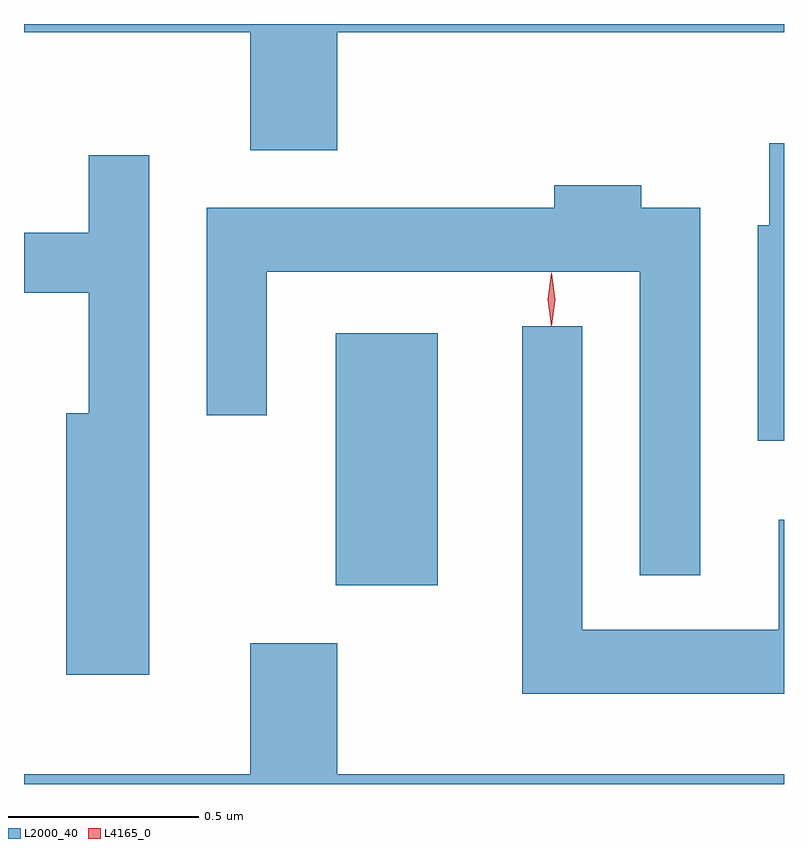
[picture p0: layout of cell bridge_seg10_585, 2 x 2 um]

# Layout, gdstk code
import gdstk
lib = gdstk.Library(unit=1e-6, precision=1e-09)
def R(c, l, rs):  # rectangles x0, y0, x1, y1
    for r in rs: c.add(gdstk.rectangle(r[:2], r[2:], *l))
def P(c, l, *ps):  # polygons
    for p in ps: c.add(gdstk.Polygon(p, *l))
L2000_40 = (2000, 40)
L4165_0 = (4165, 0)

bridge_seg10_585 = lib.new_cell('bridge_seg10_585')
R(bridge_seg10_585, L2000_40, [(802.456,2167.961,802.724,2168.624)])
P(bridge_seg10_585, L2000_40, [(802.459,2169.416),(803.635,2169.416),(803.635,2169.438),(801.635,2169.438),(801.635,2169.416),(802.231,2169.416),(802.231,2169.106),(802.459,2169.106)],
  [(803.635,2169.124),(803.596,2169.124),(803.596,2168.909),(803.566,2168.909),(803.566,2168.341),(803.635,2168.341)],
  [(801.964,2169.093),(801.806,2169.093),(801.806,2168.889),(801.635,2168.889),(801.635,2168.731),(801.806,2168.731),(801.806,2168.414),(801.746,2168.414),(801.746,2167.726),(801.964,2167.726)],
  [(803.414,2168.954),(803.259,2168.954),(803.259,2169.014),(803.031,2169.014),(803.031,2168.954),(802.116,2168.954),(802.116,2168.408),(802.274,2168.408),(802.274,2168.786),(803.256,2168.786),(803.256,2167.988),(803.414,2167.988)],
  [(803.635,2168.134),(803.621,2168.134),(803.621,2167.844),(803.104,2167.844),(803.104,2168.643),(802.946,2168.643),(802.946,2167.676),(803.635,2167.676)],
  [(803.635,2167.464),(802.459,2167.464),(802.459,2167.809),(802.231,2167.809),(802.231,2167.464),(801.635,2167.464),(801.635,2167.438),(803.635,2167.438)])
P(bridge_seg10_585, L4165_0, [(803.023,2168.644),(803.023,2168.644),(803.013,2168.713),(803.023,2168.782),(803.023,2168.783),(803.024,2168.782),(803.033,2168.713),(803.024,2168.644)],
  [(803.023,2168.647),(803.023,2168.647),(803.013,2168.714),(803.023,2168.78),(803.023,2168.78),(803.024,2168.78),(803.033,2168.714),(803.024,2168.647)])

lib.write_gds('bridge_seg10_585.gds')
